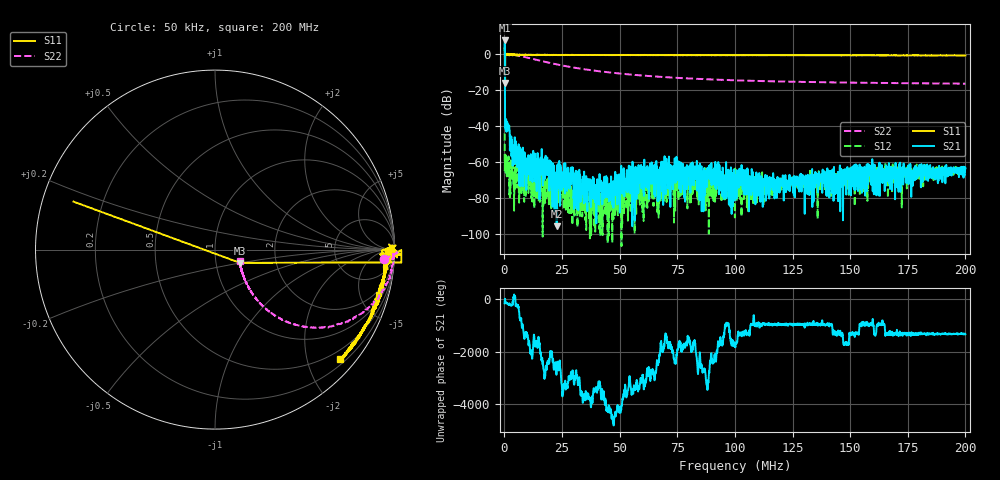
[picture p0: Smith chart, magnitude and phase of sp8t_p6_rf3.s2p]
! 26-Feb-26 12:27:18 PM
! E:\VNA_MEASUREMENTS\SP8T\SP8T_P6_RF3.S2P
! CHANNEL.1
! TR.MEASUREMENT
! CORRECTED.DATA
# GHZ S RI R 50.0
! FREQ.GHZ  S11RE  S11IM  S21RE  S21IM  S12RE  S12IM  S22RE  S22IM
!; PortSelection: Port_12
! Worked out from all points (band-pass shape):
!   2000 points, 50 kHz to 200 MHz, reference 50 ohm
!   highest |S21| = 7.72 dB at 150 kHz (marker M1); lowest = -96.0 dB at 22.66 MHz (marker M2)
!   |S21| within 3 dB of the highest: 93.81 kHz to 156.9 kHz (63.11 kHz wide, 50.3 % of centre)
!   lowest |S11| = -16.0 dB at 250 kHz (marker M3), VSWR 1.38, Z = 65.4 - j9.93 ohm
!   |S11| at or under -10 dB: 208.3 kHz to 288.5 kHz (80.19 kHz wide, 32.3 % of centre)
!   |S22| runs from -16.4 to 0.2 dB; largest |S21 - S12| = 2.4
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5e-05  1.46 0.1201  -1.127 -0.677  0.00594 0.00168  0.9417 -0.0538
0.000150025  -0.788 0.2671  2.192 -1.052  9.44e-05 -0.000558  1.018 -0.0169
0.00025005  0.1399 -0.074  0.0147 0.00704  0.000715 -0.000812  1.002 -0.0114
0.0012503  0.9693 0.0292  -0.00783 -0.00507  0.00119 0.000427  0.9925 -0.0817
0.004451101  0.9951 -0.00863  -0.00394 0.00282  -0.00026 -0.000591  0.9148 -0.2613
0.01425355  0.9743 -0.0567  0.000373 -1.42e-05  5.02e-05 0.000218  0.5425 -0.4349
0.01825455  0.9584 -0.0678  -0.000445 -4e-06  0.00019 8.72e-05  0.436 -0.4144
0.02265565  0.9546 -0.0738  -1.58e-05 1.9e-06  -4.82e-05 0.000214  0.3567 -0.3822
0.03345835  0.9454 -0.1195  0.000125 -6.74e-05  -0.000105 -4.58e-05  0.2535 -0.301
0.04006001  0.9473 -0.1421  -8.44e-05 9.04e-05  -3.23e-05 3.42e-05  0.221 -0.2621
0.05836458  0.9251 -0.2009  7.62e-05 -0.000305  6.17e-05 0.000214  0.1766 -0.1906
0.06676668  0.927 -0.2272  -0.000274 0.000164  0.00038 0.000185  0.1672 -0.1683
0.07446861  0.9126 -0.252  -0.000618 -0.000343  -0.000166 0.000172  0.1607 -0.1519
0.07866966  0.9081 -0.2536  0.000119 0.000152  -7.65e-05 0.000408  0.1578 -0.1445
0.08077018  0.908 -0.2651  0.00073 0.000507  -0.000279 0.000585  0.156 -0.1415
0.08657164  0.8998 -0.2902  -0.000622 0.000223  0.000303 0.000139  0.1532 -0.1327
0.09097274  0.8982 -0.3112  -0.000621 0.000247  -0.000189 0.000267  0.1511 -0.1272
0.09307326  0.889 -0.3102  0.000125 0  0.000274 0.000161  0.1502 -0.1239
0.100075  0.8871 -0.3336  0.000247 0.000185  -0.000605 0.000232  0.1484 -0.1164
0.1333833  0.8327 -0.4291  -0.000196 0.000195  -0.000155 0.000166  0.1424 -0.089
0.1666917  0.7742 -0.5273  -0.00018 0.000546  -0.00024 0.000149  0.1399 -0.0731
0.2  0.6982 -0.6098  -0.000248 0.000607  -0.000256 0.000568  0.138 -0.0621
